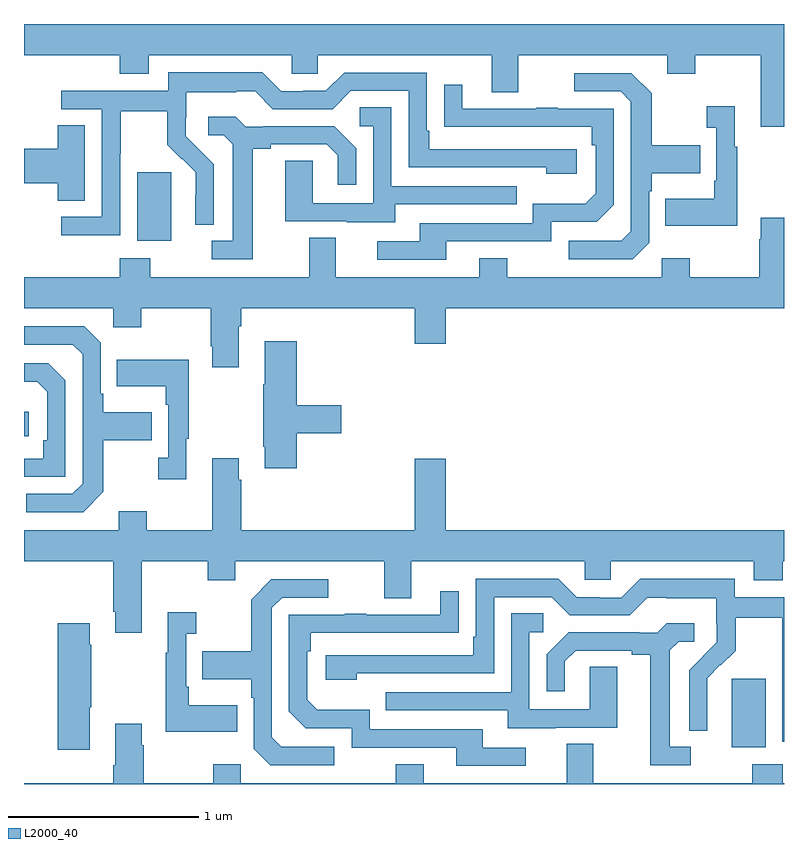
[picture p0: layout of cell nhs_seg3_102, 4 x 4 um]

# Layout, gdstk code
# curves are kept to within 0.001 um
import gdstk
lib = gdstk.Library(unit=1e-6, precision=1e-09)
def R(c, l, rs):  # rectangles x0, y0, x1, y1
    for r in rs: c.add(gdstk.rectangle(r[:2], r[2:], *l))
def P(c, l, *ps):  # polygons
    for p in ps: c.add(gdstk.Polygon(p, *l))
L2000_40 = (2000, 40)

nhs_seg3_102 = lib.new_cell('nhs_seg3_102')
R(nhs_seg3_102, L2000_40, [(118.724,710.594,118.903,710.955), (115,712.23,115.024,712.36), (115.595,713.258,115.774,713.619)])
P(nhs_seg3_102, L2000_40, [(119,714.4),(115,714.4),(115,714.236),(115.505,714.236),(115.505,714.137),(115.657,714.137),(115.657,714.236),(116.409,714.236),(116.409,714.138),(116.547,714.138),(116.547,714.236),(117.461,714.236),(117.461,714.042),(117.601,714.042),(117.601,714.236),(118.385,714.236),(118.385,714.137),(118.533,714.137),(118.533,714.236),(118.877,714.236),(118.877,713.859),(119,713.859)],
  [(115.506,713.716),(115.509,713.716),(115.509,713.94),(115.753,713.94),(115.753,713.765),(115.83,713.688),(115.833,713.691),(115.904,713.621),(115.904,713.498),(115.902,713.498),(115.902,713.344),(115.998,713.344),(115.998,713.662),(115.852,713.81),(115.852,713.907),(115.854,713.907),(115.854,714.041),(116.117,714.041),(116.117,714.045),(116.217,714.045),(116.31,713.952),(116.625,713.952),(116.721,714.048),(117.024,714.048),(117.024,713.646),(117.749,713.646),(117.749,713.612),(117.91,713.612),(117.91,713.742),(117.133,713.742),(117.133,713.839),(117.12,713.839),(117.12,714.144),(116.685,714.144),(116.589,714.048),(116.471,714.048),(116.471,714.045),(116.355,714.045),(116.255,714.145),(115.758,714.145),(115.758,714.048),(115.197,714.048),(115.197,713.952),(115.41,713.952),(115.41,713.385),(115.197,713.385),(115.197,713.287),(115.506,713.287)],
  [(118.29,713.25),(118.29,713.519),(118.303,713.519),(118.303,713.615),(118.559,713.615),(118.559,713.763),(118.303,713.763),(118.303,714.035),(118.197,714.141),(117.897,714.141),(117.897,714.045),(118.14,714.045),(118.194,713.991),(118.194,713.31),(118.143,713.259),(117.867,713.259),(117.867,713.163),(118.203,713.163)],
  [(117.223,713.256),(117.774,713.256),(117.774,713.358),(118.014,713.358),(118.104,713.448),(118.104,713.955),(117.809,713.955),(117.809,713.96),(117.697,713.96),(117.697,713.955),(117.307,713.955),(117.307,714.079),(117.211,714.079),(117.211,713.86),(117.988,713.859),(117.988,713.762),(118.008,713.762),(118.008,713.508),(117.955,713.455),(117.678,713.455),(117.678,713.352),(117.083,713.352),(117.083,713.256),(116.859,713.256),(116.859,713.16),(117.223,713.16)],
  [(118.753,713.755),(118.741,713.755),(118.741,713.968),(118.593,713.968),(118.593,713.855),(118.644,713.855),(118.644,713.575),(118.632,713.575),(118.632,713.479),(118.375,713.479),(118.375,713.339),(118.753,713.339)],
  [(116.953,713.451),(117.593,713.451),(117.593,713.547),(116.934,713.547),(116.934,713.963),(116.766,713.963),(116.766,713.862),(116.838,713.862),(116.838,713.457),(116.52,713.457),(116.52,713.681),(116.375,713.681),(116.375,713.361),(116.699,713.361),(116.699,713.357),(116.953,713.357)],
  [(116.203,713.744),(116.299,713.744),(116.299,713.766),(116.594,713.766),(116.651,713.709),(116.651,713.553),(116.748,713.553),(116.748,713.746),(116.632,713.862),(116.26,713.862),(116.26,713.859),(116.166,713.859),(116.114,713.911),(115.971,713.911),(115.971,713.814),(116.052,713.814),(116.099,713.767),(116.099,713.259),(115.989,713.259),(115.989,713.163),(116.203,713.163)],
  [(115.321,713.867),(115.178,713.867),(115.178,713.744),(115,713.744),(115,713.561),(115.178,713.561),(115.178,713.47),(115.321,713.47)],
  [(116.131,712.808),(116.144,712.808),(116.144,712.904),(117.056,712.904),(117.056,712.716),(117.22,712.716),(117.22,712.904),(119,712.904),(119,713.38),(118.877,713.38),(118.877,713.267),(118.87,713.267),(118.87,713.068),(118.503,713.068),(118.503,713.167),(118.356,713.167),(118.356,713.068),(117.543,713.068),(117.543,713.167),(117.395,713.167),(117.395,713.068),(116.641,713.068),(116.641,713.276),(116.501,713.276),(116.501,713.068),(115.665,713.068),(115.665,713.167),(115.505,713.167),(115.505,713.068),(115,713.068),(115,712.904),(115.47,712.904),(115.47,712.805),(115.617,712.805),(115.617,712.904),(115.984,712.904),(115.984,712.705),(115.991,712.705),(115.991,712.593),(116.131,712.593)],
  [(115.417,711.937),(115.417,712.21),(115.673,712.21),(115.673,712.357),(115.417,712.357),(115.417,712.453),(115.404,712.453),(115.404,712.722),(115.317,712.809),(115,712.809),(115,712.713),(115.257,712.713),(115.308,712.662),(115.308,711.981),(115.254,711.927),(115.011,711.927),(115.011,711.831),(115.311,711.831)],
  [(116.435,712.247),(116.671,712.247),(116.671,712.394),(116.435,712.394),(116.435,712.729),(116.267,712.729),(116.267,712.505),(116.26,712.505),(116.26,712.174),(116.267,712.174),(116.267,712.062),(116.435,712.062)],
  [(115.855,712.217),(115.867,712.217),(115.867,712.633),(115.489,712.633),(115.489,712.493),(115.746,712.493),(115.746,712.397),(115.758,712.397),(115.758,712.118),(115.707,712.118),(115.707,712.005),(115.855,712.005)],
  [(115.218,712.524),(115.128,712.614),(115,712.614),(115,712.517),(115.069,712.517),(115.122,712.464),(115.122,712.21),(115.102,712.21),(115.102,712.113),(115,712.113),(115,712.017),(115.218,712.017)],
  [(115.621,711.572),(115.966,711.572),(115.966,711.473),(116.113,711.473),(116.113,711.572),(116.897,711.572),(116.897,711.378),(117.037,711.378),(117.037,711.572),(117.951,711.572),(117.951,711.474),(118.089,711.474),(118.089,711.572),(118.841,711.572),(118.841,711.473),(118.994,711.473),(118.994,711.572),(119,711.572),(119,711.736),(117.22,711.736),(117.22,712.111),(117.056,712.111),(117.056,711.736),(116.144,711.736),(116.144,712.001),(116.131,712.001),(116.131,712.114),(115.991,712.114),(115.991,711.736),(115.647,711.736),(115.647,711.835),(115.499,711.835),(115.499,711.736),(115,711.736),(115,711.572),(115.469,711.572),(115.469,711.307),(115.481,711.307),(115.481,711.195),(115.621,711.195)],
  [(119,711.384),(118.74,711.384),(118.74,711.481),(118.243,711.481),(118.143,711.381),(118.028,711.381),(118.028,711.384),(117.909,711.384),(117.813,711.48),(117.378,711.48),(117.378,711.175),(117.365,711.175),(117.365,711.078),(116.589,711.078),(116.589,710.948),(116.75,710.948),(116.75,710.982),(117.474,710.982),(117.474,711.384),(117.777,711.384),(117.873,711.288),(118.188,711.288),(118.281,711.381),(118.381,711.381),(118.381,711.377),(118.644,711.377),(118.644,711.243),(118.646,711.243),(118.646,711.146),(118.5,710.998),(118.5,710.68),(118.596,710.68),(118.595,710.957),(118.665,711.027),(118.668,711.024),(118.745,711.101),(118.745,711.276),(118.99,711.276),(118.99,711.052),(118.992,711.052),(118.992,710.623),(119,710.623)],
  [(116.632,710.595),(116.355,710.595),(116.304,710.646),(116.304,711.327),(116.358,711.381),(116.602,711.381),(116.602,711.477),(116.301,711.477),(116.196,711.371),(116.196,711.099),(115.939,711.099),(115.939,710.951),(116.196,710.951),(116.196,710.855),(116.208,710.855),(116.208,710.586),(116.295,710.499),(116.632,710.499)],
  [(117.64,710.592),(117.415,710.592),(117.415,710.688),(116.82,710.688),(116.82,710.791),(116.543,710.791),(116.49,710.844),(116.49,711.098),(116.51,711.098),(116.51,711.195),(117.287,711.196),(117.287,711.415),(117.191,711.415),(117.191,711.291),(116.801,711.291),(116.801,711.296),(116.689,711.296),(116.689,711.291),(116.394,711.291),(116.394,710.784),(116.484,710.694),(116.724,710.694),(116.724,710.592),(117.275,710.592),(117.275,710.496),(117.64,710.496)],
  [(116.123,710.815),(115.867,710.815),(115.867,710.911),(115.854,710.911),(115.854,711.191),(115.906,711.191),(115.906,711.304),(115.757,711.304),(115.757,711.091),(115.746,711.091),(115.746,710.675),(116.123,710.675)],
  [(117.799,710.697),(118.123,710.697),(118.123,711.017),(117.978,711.017),(117.978,710.793),(117.66,710.793),(117.66,711.198),(117.733,711.198),(117.733,711.299),(117.564,711.299),(117.564,710.883),(116.905,710.883),(116.905,710.787),(117.545,710.787),(117.545,710.693),(117.799,710.693)],
  [(118.51,710.595),(118.399,710.595),(118.399,711.103),(118.446,711.15),(118.528,711.15),(118.528,711.247),(118.384,711.247),(118.332,711.195),(118.238,711.195),(118.238,711.198),(117.866,711.198),(117.75,711.082),(117.75,710.889),(117.847,710.889),(117.847,711.045),(117.904,711.102),(118.199,711.102),(118.199,711.08),(118.295,711.08),(118.295,710.499),(118.51,710.499)],
  [(115.345,710.803),(115.353,710.803),(115.353,711.134),(115.345,711.134),(115.345,711.247),(115.178,711.247),(115.178,710.58),(115.345,710.58)],
  [(119,710.404),(118.994,710.404),(118.994,710.503),(118.834,710.503),(118.834,710.404),(117.997,710.404),(117.997,710.612),(117.857,710.612),(117.857,710.404),(117.103,710.404),(117.103,710.503),(116.956,710.503),(116.956,710.404),(116.142,710.404),(116.142,710.503),(115.996,710.503),(115.996,710.404),(115.629,710.404),(115.629,710.603),(115.621,710.603),(115.621,710.716),(115.481,710.716),(115.481,710.5),(115.469,710.5),(115.469,710.404),(115,710.404),(115,710.4),(119,710.4)])

lib.write_gds('nhs_seg3_102.gds')
